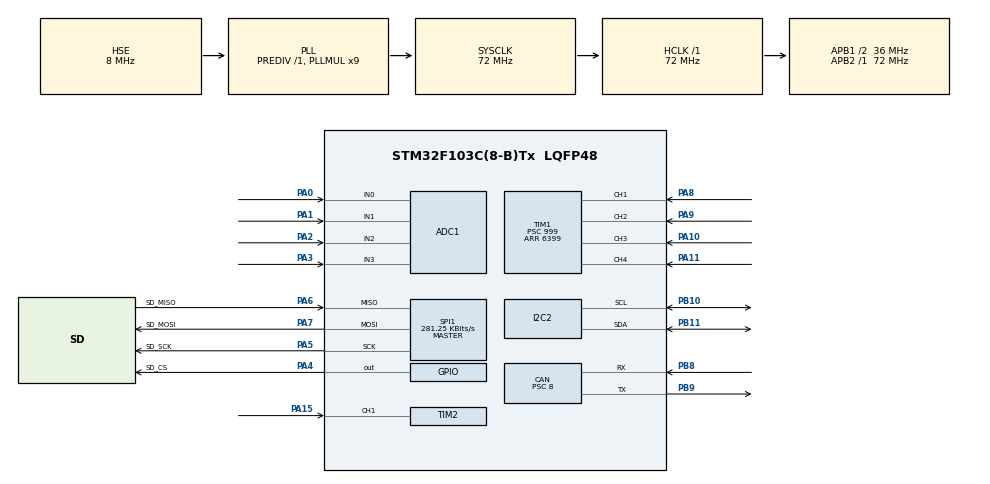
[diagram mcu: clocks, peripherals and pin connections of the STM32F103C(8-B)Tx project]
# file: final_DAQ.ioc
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ADC1.Channel-0\#ChannelRegularConversion=ADC_CHANNEL_0
ADC1.Channel-1\#ChannelRegularConversion=ADC_CHANNEL_1
ADC1.Channel-2\#ChannelRegularConversion=ADC_CHANNEL_2
ADC1.Channel-3\#ChannelRegularConversion=ADC_CHANNEL_3
ADC1.ContinuousConvMode=DISABLE
ADC1.DataAlign=ADC_DATAALIGN_RIGHT
ADC1.DiscontinuousConvMode=DISABLE
ADC1.EnableAnalogWatchDog=false
ADC1.EnableRegularConversion=ENABLE
ADC1.ExternalTrigConv=ADC_EXTERNALTRIGCONV_T3_TRGO
ADC1.InjNumberOfConversion=0
ADC1.NbrOfConversion=4
ADC1.NbrOfConversionFlag=1
ADC1.Rank-0\#ChannelRegularConversion=1
ADC1.Rank-1\#ChannelRegularConversion=2
ADC1.Rank-2\#ChannelRegularConversion=3
ADC1.Rank-3\#ChannelRegularConversion=4
ADC1.SamplingTime-0\#ChannelRegularConversion=ADC_SAMPLETIME_1CYCLE_5
ADC1.SamplingTime-1\#ChannelRegularConversion=ADC_SAMPLETIME_1CYCLE_5
ADC1.SamplingTime-2\#ChannelRegularConversion=ADC_SAMPLETIME_1CYCLE_5
ADC1.SamplingTime-3\#ChannelRegularConversion=ADC_SAMPLETIME_1CYCLE_5
ADC1.ScanConvMode=ADC_SCAN_ENABLE
ADC1.master=1
CAN.BS1=CAN_BS1_3TQ
CAN.BS2=CAN_BS2_5TQ
CAN.CalculateTimeBit=2000
CAN.CalculateTimeQuantum=222.22222222222223
CAN.Prescaler=8
Dma.ADC1.0.Direction=DMA_PERIPH_TO_MEMORY
Dma.ADC1.0.Instance=DMA1_Channel1
Dma.ADC1.0.MemDataAlignment=DMA_MDATAALIGN_HALFWORD
Dma.ADC1.0.MemInc=DMA_MINC_ENABLE
Dma.ADC1.0.Mode=DMA_CIRCULAR
Dma.ADC1.0.PeriphDataAlignment=DMA_PDATAALIGN_HALFWORD
Dma.ADC1.0.PeriphInc=DMA_PINC_DISABLE
Dma.ADC1.0.Priority=DMA_PRIORITY_MEDIUM
Dma.Request0=ADC1
Mcu.Family=STM32F1
Mcu.Name=STM32F103C(8-B)Tx
Mcu.Package=LQFP48
NVIC.ADC1_2_IRQn=true\:0\:0\:false\:false\:true\:true
NVIC.DMA1_Channel1_IRQn=true\:0\:0\:false\:false\:true\:false
NVIC.PriorityGroup=NVIC_PRIORITYGROUP_4
NVIC.SPI1_IRQn=true\:0\:0\:false\:false\:true\:true
NVIC.TIM1_CC_IRQn=true\:0\:0\:false\:false\:true\:true
NVIC.TIM1_UP_IRQn=true\:0\:0\:false\:false\:true\:true
NVIC.TIM2_IRQn=true\:0\:0\:false\:false\:true\:true
NVIC.TIM3_IRQn=true\:0\:0\:false\:false\:true\:true
PA0-WKUP.Signal=ADCx_IN0
PA1.Signal=ADCx_IN1
PA10.GPIO_PuPd=GPIO_PULLUP
PA10.Signal=S_TIM1_CH3
PA11.GPIO_PuPd=GPIO_PULLUP
PA11.Signal=S_TIM1_CH4
PA13.Mode=Serial_Wire
PA13.Signal=SYS_JTMS-SWDIO
PA14.Mode=Serial_Wire
PA14.Signal=SYS_JTCK-SWCLK
PA15.Signal=S_TIM2_CH1_ETR
PA2.Signal=ADCx_IN2
PA3.Signal=ADCx_IN3
PA4.GPIO_Label=SD_CS
PA4.Signal=GPIO_Output
PA5.GPIO_Label=SD_SCK
PA5.Mode=Full_Duplex_Master
PA5.Signal=SPI1_SCK
PA6.GPIO_Label=SD_MISO
PA6.GPIO_PuPd=GPIO_PULLUP
PA6.Mode=Full_Duplex_Master
PA6.Signal=SPI1_MISO
PA7.GPIO_Label=SD_MOSI
PA7.Mode=Full_Duplex_Master
PA7.Signal=SPI1_MOSI
PA8.GPIO_PuPd=GPIO_PULLUP
PA8.Signal=S_TIM1_CH1
PA9.GPIO_PuPd=GPIO_PULLUP
PA9.Signal=S_TIM1_CH2
PB10.Mode=I2C
PB10.Signal=I2C2_SCL
PB11.Mode=I2C
PB11.Signal=I2C2_SDA
PB8.Mode=Master
PB8.Signal=CAN_RX
PB9.Mode=Master
PB9.Signal=CAN_TX
PD0-OSC_IN.Mode=HSE-External-Oscillator
PD0-OSC_IN.Signal=RCC_OSC_IN
PD1-OSC_OUT.Mode=HSE-External-Oscillator
PD1-OSC_OUT.Signal=RCC_OSC_OUT
ProjectManager.HeapSize=0x200
ProjectManager.StackSize=0x400
ProjectManager.TargetToolchain=TrueSTUDIO
RCC.ADCPresc=RCC_ADCPCLK2_DIV6
RCC.AHBFreq_Value=72000000
RCC.APB1CLKDivider=RCC_HCLK_DIV2
RCC.APB1Freq_Value=36000000
RCC.APB1TimFreq_Value=72000000
RCC.APB2Freq_Value=72000000
RCC.APB2TimFreq_Value=72000000
RCC.HCLKFreq_Value=72000000
RCC.PLLMUL=RCC_PLL_MUL9
RCC.PLLSourceVirtual=RCC_PLLSOURCE_HSE
RCC.SYSCLKFreq_VALUE=72000000
RCC.SYSCLKSource=RCC_SYSCLKSOURCE_PLLCLK
RCC.USBFreq_Value=72000000
SH.ADCx_IN0.0=ADC1_IN0,IN0
SH.ADCx_IN1.0=ADC1_IN1,IN1
SH.ADCx_IN2.0=ADC1_IN2,IN2
SH.ADCx_IN3.0=ADC1_IN3,IN3
SH.S_TIM1_CH1.0=TIM1_CH1,Input_Capture1_from_TI1
SH.S_TIM1_CH2.0=TIM1_CH2,Input_Capture2_from_TI2
SH.S_TIM1_CH3.0=TIM1_CH3,Input_Capture3_from_TI3
SH.S_TIM1_CH4.0=TIM1_CH4,Input_Capture4_from_TI4
SH.S_TIM2_CH1_ETR.0=TIM2_CH1,Input_Capture1_from_TI1
SPI1.BaudRatePrescaler=SPI_BAUDRATEPRESCALER_256
SPI1.CalculateBaudRate=281.25 KBits/s
SPI1.Direction=SPI_DIRECTION_2LINES
SPI1.Mode=SPI_MODE_MASTER
SPI1.VirtualType=VM_MASTER
TIM1.Channel-Input_Capture1_from_TI1=TIM_CHANNEL_1
TIM1.Channel-Input_Capture2_from_TI2=TIM_CHANNEL_2
TIM1.Channel-Input_Capture3_from_TI3=TIM_CHANNEL_3
TIM1.Channel-Input_Capture4_from_TI4=TIM_CHANNEL_4
TIM1.Period=6399
TIM1.Prescaler=999
TIM2.Channel-Input_Capture1_from_TI1=TIM_CHANNEL_1
TIM2.Period=6399
TIM2.Prescaler=999
TIM3.Period=1000
TIM3.Prescaler=71
TIM3.TIM_MasterOutputTrigger=TIM_TRGO_UPDATE
VP_TIM1_VS_ClockSourceINT.Mode=Internal
VP_TIM2_VS_ClockSourceINT.Mode=Internal
VP_TIM3_VS_ClockSourceINT.Mode=Internal
board=custom

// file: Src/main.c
/**
  ******************************************************************************
  * @file           : main.c
  * @brief          : Main program body
  ******************************************************************************
  ** This notice applies to any and all portions of this file
  * that are not between comment pairs USER CODE BEGIN and
  * USER CODE END. Other portions of this file, whether
  * inserted by the user or by software development tools
  * are owned by their respective copyright owners.
  *
  * COPYRIGHT(c) 2019 STMicroelectronics
  *
  * Redistribution and use in source and binary forms, with or without modification,
  * are permitted provided that the following conditions are met:
  *   1. Redistributions of source code must retain the above copyright notice,
  *      this list of conditions and the following disclaimer.
  *   2. Redistributions in binary form must reproduce the above copyright notice,
  *      this list of conditions and the following disclaimer in the documentation
  *      and/or other materials provided with the distribution.
  *   3. Neither the name of STMicroelectronics nor the names of its contributors
  *      may be used to endorse or promote products derived from this software
  *      without specific prior written permission.
  *
  * THIS SOFTWARE IS PROVIDED BY THE COPYRIGHT HOLDERS AND CONTRIBUTORS "AS IS"
  * AND ANY EXPRESS OR IMPLIED WARRANTIES, INCLUDING, BUT NOT LIMITED TO, THE
  * IMPLIED WARRANTIES OF MERCHANTABILITY AND FITNESS FOR A PARTICULAR PURPOSE ARE
  * DISCLAIMED. IN NO EVENT SHALL THE COPYRIGHT HOLDER OR CONTRIBUTORS BE LIABLE
  * FOR ANY DIRECT, INDIRECT, INCIDENTAL, SPECIAL, EXEMPLARY, OR CONSEQUENTIAL
  * DAMAGES (INCLUDING, BUT NOT LIMITED TO, PROCUREMENT OF SUBSTITUTE GOODS OR
  * SERVICES; LOSS OF USE, DATA, OR PROFITS; OR BUSINESS INTERRUPTION) HOWEVER
  * CAUSED AND ON ANY THEORY OF LIABILITY, WHETHER IN CONTRACT, STRICT LIABILITY,
  * OR TORT (INCLUDING NEGLIGENCE OR OTHERWISE) ARISING IN ANY WAY OUT OF THE USE
  * OF THIS SOFTWARE, EVEN IF ADVISED OF THE POSSIBILITY OF SUCH DAMAGE.
  *
  ******************************************************************************
  */
#include "main.h"
#include "stm32f1xx_hal.h"
#include "adc.h"
#include "can.h"
#include "dma.h"
#include "i2c.h"
#include "spi.h"
#include "tim.h"
#include "gpio.h"

/* USER CODE BEGIN Includes */
#include "mpu6050.h"
#include "SD_card.h"
/* USER CODE END Includes */

/* USER CODE BEGIN PV */
/* Private variables ---------------------------------------------------------*/

// SD card variables
/*SD card 512 bytes writing block representation*/
typedef union {
	struct {
		double acc[3];
		double gyro[3];
		double mag[3];
		double sus[4];
		double steering;
		double speed[5];
		uint8_t reserved[360];
	} Data;
	uint8_t buff[512];
} SD_data_t;

SD_data_t d1;
uint32_t block_no=1;
uint8_t status=1;

//wheel speed variables
uint32_t tim1_overflow_counter = 0;
uint32_t tim2_overflow_counter = 0;
uint32_t no_counts[5] = {0};
double Trev[5] = {0};

//suspension variables
volatile uint16_t adc_reading[4]={0};
volatile uint8_t measured_distance[4]={0};

// variables for mpu6050
MPU6050_Readings mpu1;                          // structure of mpu readings

//can variables
CanTxMsgTypeDef TxMessage1;
/* USER CODE END PV */

void SystemClock_Config(void);

/* USER CODE BEGIN PFP */
/* Private function prototypes -----------------------------------------------*/

/* USER CODE END PFP */

/* USER CODE BEGIN 0 */
void HAL_TIM_PeriodElapsedCallback(TIM_HandleTypeDef *htim) {
	if (htim == &htim1) {
		tim1_overflow_counter++;
	}
	if (htim == &htim2) {
		tim2_overflow_counter++;
	}
}

void HAL_ADC_ConvCpltCallback(ADC_HandleTypeDef *hadc) {
	if (hadc->Instance == ADC1) {
		uint8_t i;
		for (i = 0; i < 4; i++) {
			//converting ADC readings into length in mm

			/*    adc_reading     ------------> 4096 (full scale of 12 bit ADC)
			 *  measured_distance   ----------> 30 (3cm)
			 */
			measured_distance[i] =(uint8_t)(adc_reading[i] * (30) / (4096));
		}
	}
}

void HAL_TIM_IC_CaptureCallback(TIM_HandleTypeDef *htim) {
	static uint32_t tim1_ch1_last_capture = 0;
	static uint32_t tim1_ch2_last_capture = 0;
	static uint32_t tim1_ch3_last_capture = 0;
	static uint32_t tim1_ch4_last_capture = 0;
	static uint32_t tim2_ch1_last_capture = 0;
	static uint32_t tim1_ch1_capture = 0;
	static uint32_t tim1_ch2_capture = 0;
	static uint32_t tim1_ch3_capture = 0;
	static uint32_t tim1_ch4_capture = 0;
	static uint32_t tim2_ch1_capture = 0;
	if (htim == &htim2)
	{
		if (htim->Channel == 1)
		{
			tim2_ch1_last_capture = tim2_ch1_capture;
			tim2_ch1_capture = HAL_TIM_ReadCapturedValue(&htim2, 1);
			no_counts[4]=((tim2_ch1_capture + (tim2_overflow_counter * 6400)) - tim2_ch1_last_capture);
			Trev[4] = no_counts[4] * (1/(double)72000.0) * 12;  //revolution time (12 for no of pulses)
			d1.Data.speed[4] = (1/Trev[4]) * 60;   //rpm
			tim2_overflow_counter = 0;
		}
	}
	else if (htim == &htim1)
	{
		if (htim->Channel == 1)
		{
			tim1_ch1_last_capture = tim1_ch1_capture;
			tim1_ch1_capture = HAL_TIM_ReadCapturedValue(&htim1, 1);
			no_counts[0]=((tim1_ch1_capture + (tim1_overflow_counter * 6400)) - tim1_ch1_last_capture);
			Trev[0] = no_counts[0] * (1/(double)72000.0) * 4;   //revolution time (4 for no of pulses)
			d1.Data.speed[0] = (1/Trev[0]) * (3.14 * 0.065) * ((double)5.0/18);   // km/h (0.065 for wheel radius)
			tim1_overflow_counter = 0;
		}
		else if (htim->Channel == 2)
		{
			tim1_ch2_last_capture = tim1_ch2_capture;
			tim1_ch2_capture = HAL_TIM_ReadCapturedValue(&htim1, 2);
			no_counts[1]=((tim1_ch2_capture + (tim1_overflow_counter * 6400)) - tim1_ch2_last_capture);
			Trev[1] = no_counts[1] * (1/(double)72000.0) * 4;   //revolution time (4 for no of pulses)
			d1.Data.speed[1] = (1/Trev[1]) * (3.14 * 0.065) * ((double)5.0/18);   // km/h (0.065 for wheel radius)
			tim1_overflow_counter = 0;
		}
		else if (htim->Channel == 4)
		{
			tim1_ch3_last_capture = tim1_ch3_capture;
			tim1_ch3_capture = HAL_TIM_ReadCapturedValue(&htim1, 4);
			no_counts[2] =((tim1_ch3_capture + (tim1_overflow_counter * 6400)) - tim1_ch3_last_capture);
			Trev[2] = no_counts[2] * (1/(double)72000.0) * 4;   //revolution time (4 for no of pulses)
			d1.Data.speed[2] = (1/Trev[2]) * (3.14 * 0.065) * ((double)5.0/18);   // km/h (0.065 for wheel radius)
			tim1_overflow_counter = 0;
		}
		else if (htim->Channel == 8)
		{
			tim1_ch4_last_capture = tim1_ch4_capture;
			tim1_ch4_capture = HAL_TIM_ReadCapturedValue(&htim1, 8);
			no_counts[3] =  ((tim1_ch4_capture + (tim1_overflow_counter * 6400)) - tim1_ch4_last_capture);
			Trev[3] = no_counts[3] * (1/(double)72000.0) * 4;   //revolution time (4 for no of pulses)
			d1.Data.speed[3] = (1/Trev[3]) * (3.14 * 0.065) * ((double)5.0/18);   // km/h (0.065 for wheel radius)
			tim1_overflow_counter = 0;
		}
	}
}
/* USER CODE END 0 */

int main(void)
{

  /* MCU Configuration----------------------------------------------------------*/

  /* Reset of all peripherals, Initializes the Flash interface and the Systick. */
  HAL_Init();

  /* Configure the system clock */
  SystemClock_Config();

  /* Initialize all configured peripherals */
  MX_GPIO_Init();
  MX_DMA_Init();
  MX_TIM1_Init();
  MX_TIM2_Init();
  MX_ADC1_Init();
  MX_TIM3_Init();
  MX_CAN_Init();
  MX_I2C2_Init();
  MX_SPI1_Init();
  /* USER CODE BEGIN 2 */
  HAL_CAN_Init(&hcan);
  HAL_SPI_Init(&hspi1);
  HAL_TIM_Base_Start_IT(&htim1);
  HAL_TIM_Base_Start_IT(&htim2);
  HAL_TIM_IC_Start_IT(&htim1, TIM_CHANNEL_1);
  HAL_TIM_IC_Start_IT(&htim1, TIM_CHANNEL_2);
  HAL_TIM_IC_Start_IT(&htim1, TIM_CHANNEL_3);
  HAL_TIM_IC_Start_IT(&htim1, TIM_CHANNEL_4);
  HAL_TIM_IC_Start_IT(&htim2, TIM_CHANNEL_1);
  HAL_TIM_Base_Start_IT(&htim3);
  HAL_ADC_Start_DMA(&hadc1,(uint32_t *)adc_reading,4);

  //Inialization of mpu6050
  MPU6050_Init(&hi2c2, MPU6050_ADDRESS_AD0LOW, FULLSCALE_250, FULLSCALE_2g, SAMPLERATE_1KHz,&mpu1);

  //SD card testing
  /*
  status=SD_Initalize(&hspi1,SD_CS_GPIO_Port,SD_CS_Pin);
  d1.Data.acc[0]=1;
  d1.Data.acc[1]=2;
  d1.Data.acc[2]=3;
  d1.Data.gyro[0]=1;
  d1.Data.gyro[1]=2;
  d1.Data.gyro[2]=3;
  d1.Data.mag[0]=1;
  d1.Data.mag[1]=2;
  d1.Data.mag[2]=3;
  status=SD_ReadBlock(block_no,d1.buff);
  */
  /* USER CODE END 2 */

  /* Infinite loop */
  while (1)
  {

  /* USER CODE BEGIN 3 */
	  MPU6050_ReadData(&hi2c2,MPU6050_ADDRESS_AD0LOW,&mpu1);

	  TxMessage1.StdId = 2000;
	  TxMessage1.RTR = CAN_RTR_DATA;
	  TxMessage1.IDE = CAN_ID_STD;
	  hcan.pTxMsg = &TxMessage1;
	  TxMessage1.DLC = 7;
	  TxMessage1.Data[0] =d1.Data.speed[0];//spped
	  TxMessage1.Data[1] =d1.Data.speed[1];//speed
	  TxMessage1.Data[2] =d1.Data.speed[2];//speed
	  TxMessage1.Data[3] =d1.Data.speed[3];//speed
	  TxMessage1.Data[4] =(uint8_t)(d1.Data.speed[0] + d1.Data.speed[1])/2;//avg
	  TxMessage1.Data[5] =((uint16_t)(d1.Data.speed[4]))>>8;//most byte rpm
	  TxMessage1.Data[6] =((uint16_t)(d1.Data.speed[4]));//least byte rpm
	  HAL_CAN_Transmit(&hcan, 10);
	  HAL_Delay(1000);
	  TxMessage1.StdId = 1998;
	  TxMessage1.DLC = 4;
	  TxMessage1.Data[0] =measured_distance[0];//suspension
	  TxMessage1.Data[1] =measured_distance[1];//suspension
	  TxMessage1.Data[2] =measured_distance[2];//suspension
	  TxMessage1.Data[3] =measured_distance[3];//suspension
	  HAL_CAN_Transmit(&hcan, 10);
	  HAL_Delay(1000);
	  TxMessage1.StdId = 2002;
	  TxMessage1.DLC = 6;
	  TxMessage1.Data[0] =((uint16_t)((mpu1.accelerometer_x+2)*100))>>8;//mpu accx - max is 2g
	  TxMessage1.Data[1] =((uint16_t)((mpu1.accelerometer_x+2)*100));
	  TxMessage1.Data[2] =((uint16_t)((mpu1.accelerometer_y+2)*100))>>8;//mpu accy
	  TxMessage1.Data[3] =((uint16_t)((mpu1.accelerometer_y+2)*100));
	  TxMessage1.Data[4] =((uint16_t)((mpu1.accelerometer_z+2)*100))>>8;//mpu accz
	  TxMessage1.Data[5] =((uint16_t)((mpu1.accelerometer_z+2)*100));
	  HAL_CAN_Transmit(&hcan, 10);
	  HAL_Delay(1000);
	  TxMessage1.StdId = 2003;
	  TxMessage1.DLC = 6;
	  TxMessage1.Data[0] =((uint16_t)((mpu1.gyroscope_x)+250))>>8;//mpu gyrox
	  TxMessage1.Data[1] =((uint16_t)((mpu1.gyroscope_x)+250));
	  TxMessage1.Data[2] =((uint16_t)((mpu1.gyroscope_y)+250))>>8;//mpu gyroy
	  TxMessage1.Data[3] =((uint16_t)((mpu1.gyroscope_y)+250));
	  TxMessage1.Data[4] =((uint16_t)((mpu1.gyroscope_z)+250))>>8;//mpu gyroz
	  TxMessage1.Data[5] =((uint16_t)((mpu1.gyroscope_z)+250));
	  HAL_CAN_Transmit(&hcan, 10);
	  HAL_Delay(1000);
  }
  /* USER CODE END 3 */

}

void SystemClock_Config(void)
{

  RCC_OscInitTypeDef RCC_OscInitStruct;
  RCC_ClkInitTypeDef RCC_ClkInitStruct;
  RCC_PeriphCLKInitTypeDef PeriphClkInit;

    /**Initializes the CPU, AHB and APB busses clocks
    */
  RCC_OscInitStruct.OscillatorType = RCC_OSCILLATORTYPE_HSE;
  RCC_OscInitStruct.HSEState = RCC_HSE_ON;
  RCC_OscInitStruct.HSEPredivValue = RCC_HSE_PREDIV_DIV1;
  RCC_OscInitStruct.HSIState = RCC_HSI_ON;
  RCC_OscInitStruct.PLL.PLLState = RCC_PLL_ON;
  RCC_OscInitStruct.PLL.PLLSource = RCC_PLLSOURCE_HSE;
  RCC_OscInitStruct.PLL.PLLMUL = RCC_PLL_MUL9;
  if (HAL_RCC_OscConfig(&RCC_OscInitStruct) != HAL_OK)
  {
    _Error_Handler(__FILE__, __LINE__);
  }

    /**Initializes the CPU, AHB and APB busses clocks
    */
  RCC_ClkInitStruct.ClockType = RCC_CLOCKTYPE_HCLK|RCC_CLOCKTYPE_SYSCLK
                              |RCC_CLOCKTYPE_PCLK1|RCC_CLOCKTYPE_PCLK2;
  RCC_ClkInitStruct.SYSCLKSource = RCC_SYSCLKSOURCE_PLLCLK;
  RCC_ClkInitStruct.AHBCLKDivider = RCC_SYSCLK_DIV1;
  RCC_ClkInitStruct.APB1CLKDivider = RCC_HCLK_DIV2;
  RCC_ClkInitStruct.APB2CLKDivider = RCC_HCLK_DIV1;

  if (HAL_RCC_ClockConfig(&RCC_ClkInitStruct, FLASH_LATENCY_2) != HAL_OK)
  {
    _Error_Handler(__FILE__, __LINE__);
  }

  PeriphClkInit.PeriphClockSelection = RCC_PERIPHCLK_ADC;
  PeriphClkInit.AdcClockSelection = RCC_ADCPCLK2_DIV6;
  if (HAL_RCCEx_PeriphCLKConfig(&PeriphClkInit) != HAL_OK)
  {
    _Error_Handler(__FILE__, __LINE__);
  }

    /**Configure the Systick interrupt time
    */
  HAL_SYSTICK_Config(HAL_RCC_GetHCLKFreq()/1000);

    /**Configure the Systick
    */
  HAL_SYSTICK_CLKSourceConfig(SYSTICK_CLKSOURCE_HCLK);

  /* SysTick_IRQn interrupt configuration */
  HAL_NVIC_SetPriority(SysTick_IRQn, 0, 0);
}

void _Error_Handler(char *file, int line)
{
  while(1)
  {
  }
}

/************************ (C) COPYRIGHT STMicroelectronics *****END OF FILE****/
